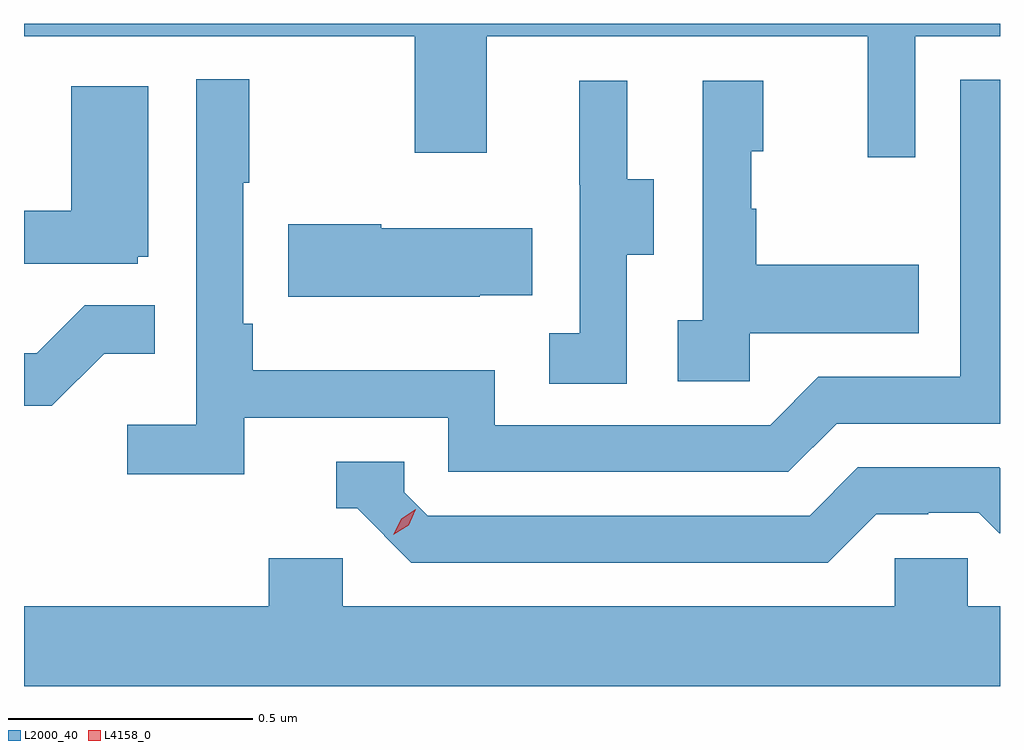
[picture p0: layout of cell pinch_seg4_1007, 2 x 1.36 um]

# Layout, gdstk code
import gdstk
lib = gdstk.Library(unit=1e-6, precision=1e-09)
def P(c, l, *ps):  # polygons
    for p in ps: c.add(gdstk.Polygon(p, *l))
L2000_40 = (2000, 40)
L4158_0 = (4158, 0)

pinch_seg4_1007 = lib.new_cell('pinch_seg4_1007')
P(pinch_seg4_1007, L2000_40, [(890.127,779.504),(890.301,779.504),(890.301,779.529),(888.301,779.529),(888.301,779.504),(889.102,779.504),(889.102,779.265),(889.249,779.265),(889.249,779.504),(890.03,779.504),(890.03,779.256),(890.127,779.256)],
  [(888.752,778.722),(889.17,778.722),(889.17,778.611),(889.867,778.611),(889.966,778.71),(890.301,778.71),(890.301,779.415),(890.22,779.415),(890.22,778.806),(889.929,778.806),(889.83,778.707),(889.266,778.707),(889.266,778.819),(888.77,778.819),(888.77,778.915),(888.75,778.915),(888.75,779.203),(888.763,779.203),(888.763,779.416),(888.654,779.416),(888.654,778.708),(888.513,778.708),(888.513,778.606),(888.752,778.606)],
  [(889.536,779.056),(889.591,779.056),(889.591,779.211),(889.537,779.211),(889.537,779.413),(889.439,779.413),(889.439,779.199),(889.44,779.199),(889.44,778.895),(889.377,778.895),(889.377,778.792),(889.536,778.792)],
  [(889.788,778.895),(890.135,778.895),(890.135,779.035),(889.801,779.035),(889.801,779.15),(889.791,779.15),(889.791,779.268),(889.816,779.268),(889.816,779.413),(889.692,779.413),(889.692,778.922),(889.641,778.922),(889.641,778.797),(889.788,778.797)],
  [(888.534,779.052),(888.556,779.052),(888.556,779.401),(888.398,779.401),(888.398,779.146),(888.301,779.146),(888.301,779.037),(888.534,779.037)],
  [(889.235,778.973),(889.343,778.973),(889.343,779.11),(889.033,779.11),(889.033,779.118),(888.842,779.118),(888.842,778.97),(889.235,778.97)],
  [(888.465,778.853),(888.569,778.853),(888.569,778.952),(888.425,778.952),(888.327,778.854),(888.301,778.854),(888.301,778.746),(888.358,778.746)],
  [(890.047,778.524),(890.154,778.524),(890.154,778.527),(890.257,778.527),(890.299,778.485),(890.301,778.485),(890.301,778.618),(890.299,778.62),(890.01,778.62),(889.911,778.521),(889.128,778.521),(889.08,778.569),(889.08,778.632),(888.941,778.632),(888.941,778.536),(888.984,778.536),(889.095,778.425),(889.948,778.425)],
  [(890.301,778.336),(890.235,778.336),(890.235,778.434),(890.085,778.434),(890.085,778.336),(888.954,778.336),(888.954,778.434),(888.803,778.434),(888.803,778.336),(888.301,778.336),(888.301,778.172),(890.301,778.172)])
P(pinch_seg4_1007, L4158_0, [(889.058,778.482),(889.058,778.482),(889.074,778.515),(889.104,778.534),(889.104,778.534),(889.104,778.534),(889.089,778.502),(889.058,778.482)])

lib.write_gds('pinch_seg4_1007.gds')
